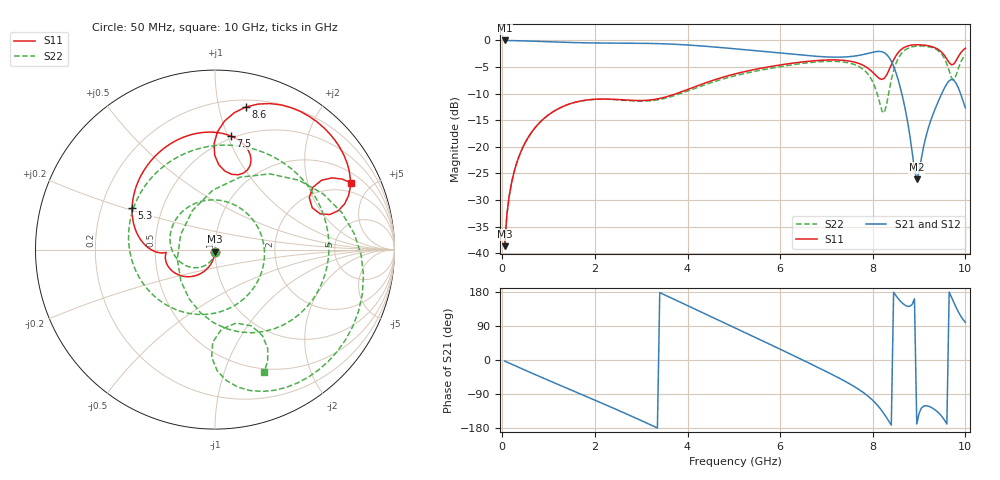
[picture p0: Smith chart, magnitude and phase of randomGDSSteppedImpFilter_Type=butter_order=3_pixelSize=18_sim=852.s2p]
! freq	dB(S11)	phase(S11)	dB(S12)	phase(S12)
!  dB(S21)	phase(S21)	dB(S22)	phase(S22)
!S-par simulation data
#  GHz  S  DB  R 50
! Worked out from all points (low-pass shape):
!   200 points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, 50 MHz to 10 GHz, reference 50 ohm
!   highest |S21| = 0.00 dB at 50 MHz (marker M1); lowest = -26.1 dB at 8.95 GHz (marker M2)
!   |S21| within 3 dB of the highest: start of sweep to 6.812 GHz; 7.547 GHz to 8.334 GHz (787.8 MHz wide, 9.92 % of centre)
!   lowest |S11| = -38.7 dB at 50 MHz (marker M3), VSWR 1.02, Z = 49.9 - j1.16 ohm
!   |S11| at or under -10 dB: start of sweep to 3.759 GHz
!   |S22| runs from -38.7 to -1.0 dB; largest |S21 - S12| = 0
!   S11 on the Smith chart (normalised r, x): 50 MHz: 1.00, -0.02; 5.3 GHz: 0.33, +0.21; 7.5 GHz: 0.48, +1.03; 8.6 GHz: 0.26, +1.21; 10 GHz: 1.46, +3.79
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0.05  -38.67 -92.4  -0.00 -2.8  -0.00 -2.8  -38.68 -93.3
0.2  -26.77 -98.6  -0.03 -11.0  -0.03 -11.0  -26.79 -103.6
0.5  -19.13 -111.5  -0.09 -27.2  -0.09 -27.2  -19.14 -124.0
1.15  -13.12 -136.9  -0.29 -61.7  -0.29 -61.7  -13.14 -167.9
1.75  -11.30 -156.7  -0.44 -93.0  -0.44 -93.0  -11.31 149.4
2.6  -11.17 -174.5  -0.51 -137.9  -0.51 -137.9  -11.24 77.9
3.4  -10.91 -176.4  -0.61 177.8  -0.61 177.8  -11.10 -8.5
4.25  -8.41 177.5  -1.00 129.2  -1.00 129.2  -8.71 -99.7
5.05  -6.24 159.9  -1.59 83.4  -1.59 83.4  -6.59 -173.8
5.3  -5.73 153.3  -1.79 69.1  -1.79 69.1  -6.08 164.0
6.05  -4.54 132.0  -2.40 25.6  -2.40 25.6  -4.87 98.1
6.7  -3.85 111.3  -2.93 -12.7  -2.93 -12.7  -4.11 42.2
7.5  -3.89 82.2  -3.05 -62.9  -3.05 -62.9  -4.27 -26.8
8  -5.99 67.4  -2.22 -106.4  -2.22 -106.4  -7.81 -91.2
8.25  -7.11 82.8  -2.32 -143.2  -2.32 -143.2  -13.61 156.4
8.35  -5.59 90.2  -3.17 -162.0  -3.17 -162.0  -9.59 92.1
8.6  -1.80 77.8  -9.05 154.8  -9.05 154.8  -2.66 16.2
8.95  -0.81 51.5  -26.09 -168.9  -26.09 -168.9  -1.07 -34.6
9.3  -1.24 30.5  -13.91 -127.8  -13.91 -127.8  -1.41 -67.2
9.6  -3.49 17.0  -8.14 -168.9  -8.14 -168.9  -4.42 -91.7
9.75  -4.44 28.9  -7.48 152.2  -7.48 152.2  -7.42 -73.9
10  -1.46 26.1  -12.67 99.3  -12.67 99.3  -2.66 -68.2
